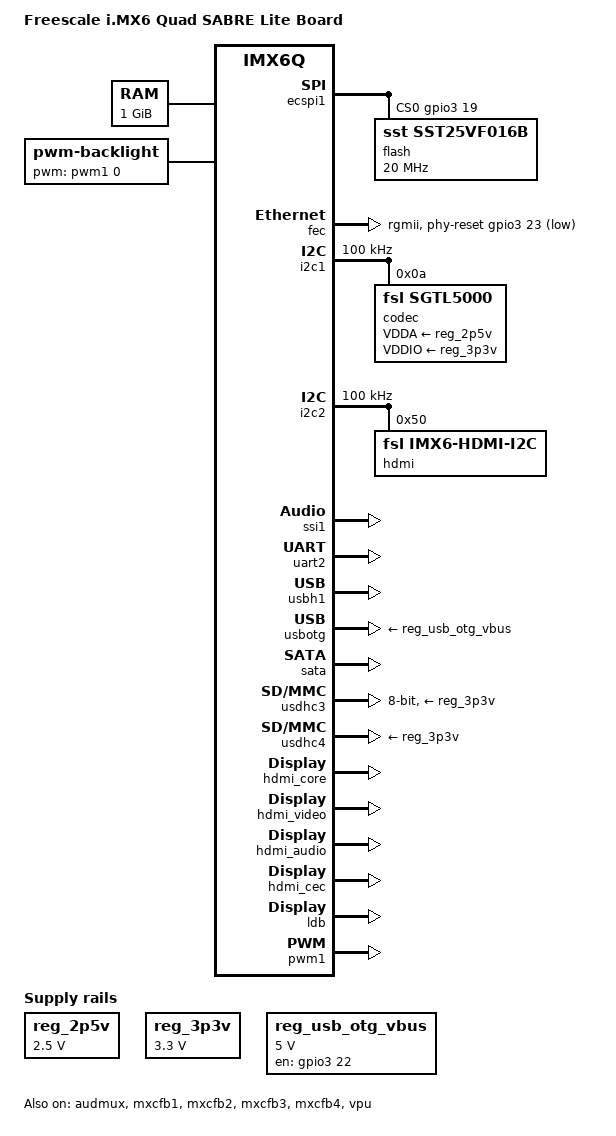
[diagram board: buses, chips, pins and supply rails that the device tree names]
/*
 * Copyright 2011 Freescale Semiconductor, Inc.
 * Copyright 2011 Linaro Ltd.
 *
 * The code contained herein is licensed under the GNU General Public
 * License. You may obtain a copy of the GNU General Public License
 * Version 2 or later at the following locations:
 *
 * http://www.opensource.org/licenses/gpl-license.html
 * http://www.gnu.org/copyleft/gpl.html
 */

/dts-v1/;
#include "imx6q.dtsi"

/ {
	model = "Freescale i.MX6 Quad SABRE Lite Board";
	compatible = "fsl,imx6q-sabrelite", "fsl,imx6q";

	memory {
		reg = <0x10000000 0x40000000>;
	};

	regulators {
		compatible = "simple-bus";

		reg_2p5v: 2p5v {
			compatible = "regulator-fixed";
			regulator-name = "2P5V";
			regulator-min-microvolt = <2500000>;
			regulator-max-microvolt = <2500000>;
			regulator-always-on;
		};

		reg_3p3v: 3p3v {
			compatible = "regulator-fixed";
			regulator-name = "3P3V";
			regulator-min-microvolt = <3300000>;
			regulator-max-microvolt = <3300000>;
			regulator-always-on;
		};

		reg_usb_otg_vbus: usb_otg_vbus {
			compatible = "regulator-fixed";
			regulator-name = "usb_otg_vbus";
			regulator-min-microvolt = <5000000>;
			regulator-max-microvolt = <5000000>;
			gpio = <&gpio3 22 0>;
			enable-active-high;
		};
	};
	sound-hdmi {
		compatible = "fsl,imx6q-audio-hdmi",
			     "fsl,imx-audio-hdmi";
		model = "imx-audio-hdmi";
		hdmi-controller = <&hdmi_audio>;
	};
/*
	sound {
		compatible = "fsl,imx6q-sabrelite-sgtl5000",
			     "fsl,imx-audio-sgtl5000";
		model = "imx6q-sabrelite-sgtl5000";
		ssi-controller = <&ssi1>;
		audio-codec = <&codec>;
		audio-routing =
			"MIC_IN", "Mic Jack",
			"Mic Jack", "Mic Bias",
			"Headphone Jack", "HP_OUT";
		mux-int-port = <1>;
		mux-ext-port = <4>;
	};
*/
	v4l2_out {
		compatible = "fsl,mxc_v4l2_output";
		status = "okay";
	};
	backlight {
		compatible = "pwm-backlight";
		pwms = <&pwm1 0 5000000>;
		brightness-levels = <0 4 8 16 32 64 128 255>;
		default-brightness-level = <7>;
	};
};

&audmux {
	status = "okay";
	pinctrl-names = "default";
	pinctrl-0 = <&pinctrl_audmux_1>;
};



&mxcfb1 {
        status = "okay";
};

&mxcfb2 {
        status = "okay";
};

&mxcfb3 {
        status = "okay";
};

&mxcfb4 {
        status = "okay";
};
&ecspi1 {
	fsl,spi-num-chipselects = <1>;
	cs-gpios = <&gpio3 19 0>;
	pinctrl-names = "default";
	pinctrl-0 = <&pinctrl_ecspi1_1>;
	status = "okay";

	flash: m25p80@0 {
		compatible = "sst,sst25vf016b";
		spi-max-frequency = <20000000>;
		reg = <0>;
	};
};

&fec {
	pinctrl-names = "default";
	pinctrl-0 = <&pinctrl_enet_1>;
	phy-mode = "rgmii";
	phy-reset-gpios = <&gpio3 23 0>;
	status = "okay";
};

&i2c1 {
	status = "okay";
	clock-frequency = <100000>;
	pinctrl-names = "default";
	pinctrl-0 = <&pinctrl_i2c1_1>;

	codec: sgtl5000@0a {
		compatible = "fsl,sgtl5000";
		reg = <0x0a>;
		clocks = <&clks 201>;
		VDDA-supply = <&reg_2p5v>;
		VDDIO-supply = <&reg_3p3v>;
	};
};
&i2c2 {
	clock-frequency = <100000>;
	pinctrl-names = "default";
	pinctrl-0 = <&pinctrl_i2c2_2>;
	status = "okay";

	hdmi: edid@50 {
		compatible = "fsl,imx6-hdmi-i2c";
		reg = <0x50>;
	};
};

&iomuxc {
	pinctrl-names = "default";
	pinctrl-0 = <&pinctrl_hog>;

	hog {
		pinctrl_hog: hoggrp {
			fsl,pins = <
				MX6QDL_PAD_NANDF_D6__GPIO2_IO06 0x80000000
				MX6QDL_PAD_NANDF_D7__GPIO2_IO07 0x80000000
				MX6QDL_PAD_EIM_D19__GPIO3_IO19  0x80000000
				MX6QDL_PAD_EIM_D22__GPIO3_IO22  0x80000000
				MX6QDL_PAD_EIM_D23__GPIO3_IO23  0x80000000
/*
				MX6QDL_PAD_SD3_DAT5__GPIO7_IO00 0x80000000
				MX6QDL_PAD_SD3_DAT4__GPIO7_IO01 0x1f0b0
*/
				MX6QDL_PAD_GPIO_0__CCM_CLKO1    0x80000000
			>;
		};
	};
};

&ssi1 {
	fsl,mode = "i2s-slave";
	status = "okay";
};

&uart2 {
	status = "okay";
	pinctrl-names = "default";
	pinctrl-0 = <&pinctrl_uart2_1>;
};

&usbh1 {
	status = "okay";
};

&usbotg {
	vbus-supply = <&reg_usb_otg_vbus>;
	pinctrl-names = "default";
/*---WWJ	
	pinctrl-0 = <&pinctrl_usbotg_1>;
*/
	disable-over-current;
	status = "okay";
};

&sata {
	status = "okay";
};

&usdhc3 {/*emmc*/
	pinctrl-names = "default";
	pinctrl-0 = <&pinctrl_usdhc3_1>;
	bus-width = <8>;
	vmmc-supply = <&reg_3p3v>;
	status = "okay";
};

&usdhc4 {/*sd card */
	pinctrl-names = "default";
	pinctrl-0 = <&pinctrl_usdhc4_2>;
	vmmc-supply = <&reg_3p3v>;
	status = "okay";
};

&hdmi_core {
	ipu_id = <0>;
	disp_id = <0>;
	status = "okay";
};
&hdmi_video {
	fsl,phy_reg_vlev = <0x0294>;
	fsl,phy_reg_cksymtx = <0x800d>;
	status = "okay";
/*
        pinctrl-names = "default";
        pinctrl-0 = <&pinctrl_hdmi_hdcp_1>;
        fsl,hdcp; */
};
&hdmi_audio {
	status = "okay";
};

&hdmi_cec {
	pinctrl-names = "default";
	pinctrl-0 = <&pinctrl_hdmi_cec_1>;
	status = "okay";
};
&vpu {
	pu-supply = <&reg_pu>; /* ldo-bypass:use pu_dummy if VDDSOC share with VDDPU */
	status = "okay";
};
&gpc {
	fsl,cpu_pupscr_sw2iso = <0xf>;
	fsl,cpu_pupscr_sw = <0xf>;
	fsl,cpu_pdnscr_iso2sw = <0x1>;
	fsl,cpu_pdnscr_iso = <0x1>;
	fsl,ldo-bypass = <1>; /* use ldo-bypass, u-boot will check it and configure */
	fsl,wdog-reset = <2>; /* watchdog select of reset source */
	pu-supply = <&reg_pu>; /* ldo-bypass:use pu_dummy if VDDSOC share with VDDPU */
};

&gpu {
	pu-supply = <&reg_pu>; /* ldo-bypass:use pu_dummy if VDDSOC share with VDDPU */
};
&ldb {
	ipu_id = <1>;
	disp_id = <1>;
	ext_ref = <1>;
	/*mode = "sep1";*/
	mode = "sin0";
	sec_ipu_id = <1>;
	sec_disp_id = <0>;
	status = "okay";
};
&pwm1 {
	pinctrl-names = "default";
	pinctrl-0 = <&pinctrl_pwm1_1>;
	status = "okay";
};


